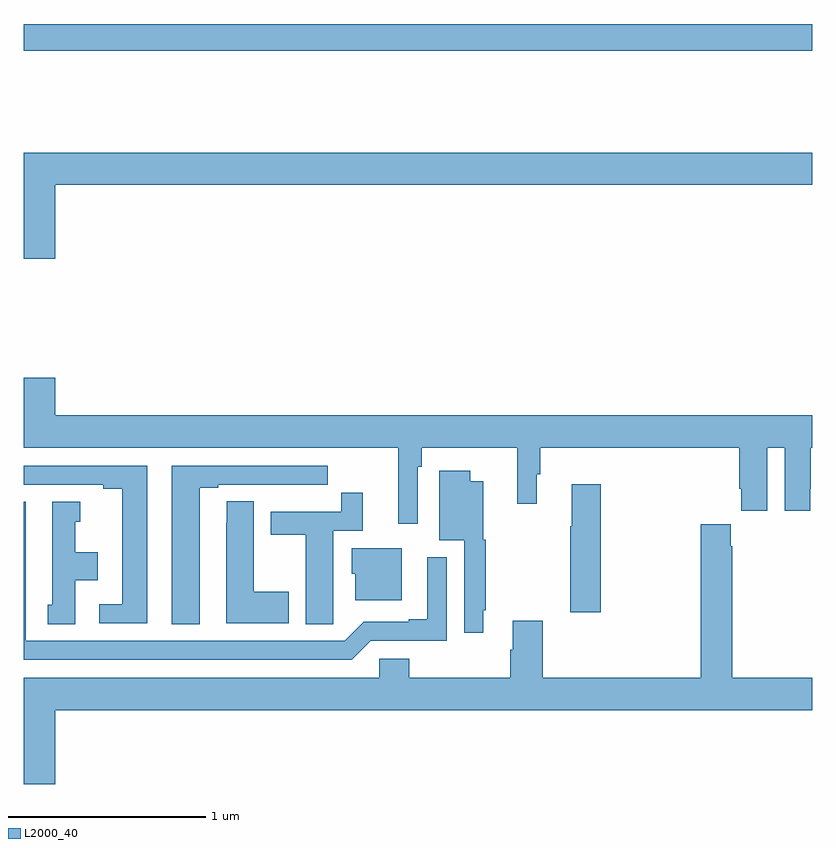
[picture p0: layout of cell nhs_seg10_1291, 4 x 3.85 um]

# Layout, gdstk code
import gdstk
lib = gdstk.Library(unit=1e-6, precision=1e-09)
def R(c, l, rs):  # rectangles x0, y0, x1, y1
    for r in rs: c.add(gdstk.rectangle(r[:2], r[2:], *l))
def P(c, l, *ps):  # polygons
    for p in ps: c.add(gdstk.Polygon(p, *l))
L2000_40 = (2000, 40)

nhs_seg10_1291 = lib.new_cell('nhs_seg10_1291')
R(nhs_seg10_1291, L2000_40, [(177,1314.316,181,1314.452)])
P(nhs_seg10_1291, L2000_40, [(177.16,1313.636),(181,1313.636),(181,1313.8),(177,1313.8),(177,1313.262),(177.16,1313.262)],
  [(178.998,1312.208),(179.018,1312.208),(179.018,1312.304),(179.503,1312.304),(179.503,1312.02),(179.602,1312.02),(179.602,1312.17),(179.621,1312.17),(179.621,1312.304),(180.629,1312.304),(180.629,1312.096),(180.638,1312.096),(180.638,1311.984),(180.772,1311.984),(180.772,1312.304),(180.86,1312.304),(180.86,1311.984),(180.99,1311.984),(180.99,1312.096),(180.991,1312.096),(180.991,1312.304),(181,1312.304),(181,1312.468),(177.16,1312.468),(177.16,1312.657),(177,1312.657),(177,1312.304),(178.901,1312.304),(178.901,1311.918),(178.998,1311.918)],
  [(177.892,1312.101),(177.988,1312.101),(177.988,1312.116),(178.264,1312.116),(178.264,1312.115),(178.43,1312.115),(178.43,1312.116),(178.543,1312.116),(178.543,1312.212),(177.752,1312.212),(177.752,1311.409),(177.892,1311.409)],
  [(177.628,1312.212),(177,1312.212),(177,1312.116),(177.404,1312.116),(177.404,1312.096),(177.5,1312.096),(177.5,1311.51),(177.384,1311.51),(177.384,1311.414),(177.628,1311.414)],
  [(179.332,1311.478),(179.344,1311.478),(179.344,1311.837),(179.332,1311.837),(179.332,1312.132),(179.266,1312.132),(179.266,1312.186),(179.108,1312.186),(179.108,1311.833),(179.235,1311.833),(179.235,1311.366),(179.332,1311.366)],
  [(179.927,1312.117),(179.78,1312.117),(179.78,1311.904),(179.773,1311.904),(179.773,1311.468),(179.927,1311.468)],
  [(178.569,1311.52),(178.57,1311.52),(178.57,1311.882),(178.721,1311.882),(178.721,1312.075),(178.612,1312.075),(178.612,1311.978),(178.253,1311.978),(178.253,1311.862),(178.43,1311.862),(178.43,1311.409),(178.569,1311.409)],
  [(178.345,1311.573),(178.168,1311.573),(178.168,1312.031),(178.029,1312.031),(178.029,1311.923),(178.028,1311.923),(178.028,1311.413),(178.345,1311.413)],
  [(178.761,1311.324),(179.145,1311.324),(179.145,1311.748),(179.048,1311.748),(179.048,1311.433),(178.952,1311.433),(178.952,1311.42),(178.725,1311.42),(178.629,1311.324),(177.01,1311.324),(177.01,1312.03),(177,1312.03),(177,1311.228),(178.665,1311.228)],
  [(177.262,1311.632),(177.376,1311.632),(177.376,1311.772),(177.262,1311.772),(177.262,1311.927),(177.286,1311.927),(177.286,1312.03),(177.146,1312.03),(177.146,1311.507),(177.122,1311.507),(177.122,1311.409),(177.262,1311.409)],
  [(177.16,1310.972),(181,1310.972),(181,1311.136),(180.594,1311.136),(180.594,1311.803),(180.587,1311.803),(180.587,1311.916),(180.434,1311.916),(180.434,1311.136),(179.633,1311.136),(179.633,1311.427),(179.48,1311.427),(179.48,1311.278),(179.468,1311.278),(179.468,1311.136),(178.955,1311.136),(178.955,1311.234),(178.803,1311.234),(178.803,1311.136),(177,1311.136),(177,1310.598),(177.16,1310.598)],
  [(178.918,1311.793),(178.664,1311.793),(178.664,1311.663),(178.682,1311.663),(178.682,1311.53),(178.918,1311.53)])

lib.write_gds('nhs_seg10_1291.gds')
